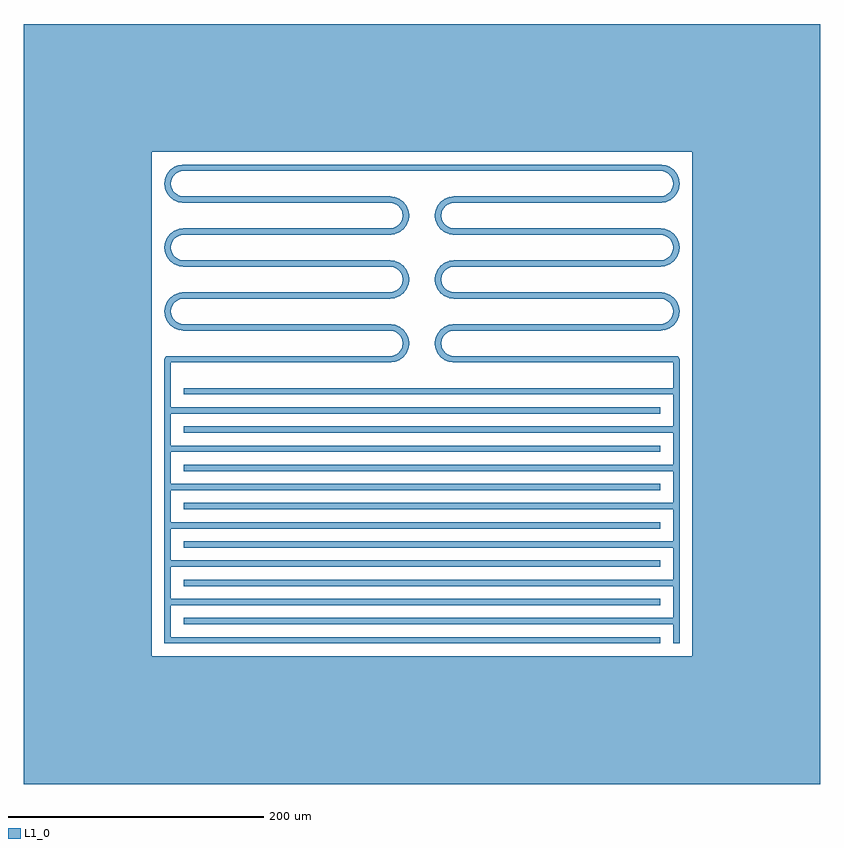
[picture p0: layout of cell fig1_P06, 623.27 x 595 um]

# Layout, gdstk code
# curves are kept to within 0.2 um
import gdstk
lib = gdstk.Library(unit=1e-6, precision=1e-09)
def R(c, l, rs):  # rectangles x0, y0, x1, y1
    for r in rs: c.add(gdstk.rectangle(r[:2], r[2:], *l))
def A(c, l, x, y, w, h, nx, ny, dx, dy):  # array of equal rectangles
    R(c, l, [(x+i*dx, y+j*dy, x+i*dx+w, y+j*dy+h) for i in range(nx) for j in range(ny)])
def P(c, l, *ps):  # polygons
    for p in ps: c.add(gdstk.Polygon(p, *l))
L1_0 = (1, 0)

fig1_p06 = lib.new_cell('fig1_P06')
A(fig1_p06, L1_0, -201.634, 0, 388.268, 5, 1, 7, 0, 30)
A(fig1_p06, L1_0, -186.634, 15, 388.268, 5, 1, 7, 0, 30)
A(fig1_p06, L1_0, -186.634, 245, 161.634, 5, 1, 5, 0, 25)
A(fig1_p06, L1_0, 25, 245, 161.634, 5, 1, 5, 0, 25)
R(fig1_p06, L1_0, [(-311.634,-110,311.634,-10), (-311.634,-10,-211.634,385), (211.634,-10,311.634,385), (-201.634,0,-196.634,200), (196.634,0,201.634,200), (-201.634,197.5,-196.634,222.5), (196.634,197.5,201.634,222.5), (-199.134,220,-25,225), (25,220,199.134,225), (-186.634,370,186.634,375), (-311.634,385,311.634,485)])
P(fig1_p06, L1_0, [(14.979,334.674),(10.021,335.326),(10.447,338.562),(15.405,337.909)],
  [(12.926,335.735),(11.158,336.467),(10.426,338.235),(11.158,340.003),(12.926,340.735),(14.694,340.003),(15.426,338.235),(14.694,336.467)],
  [(12.5,332.5),(10.732,333.232),(10,335),(10.732,336.768),(12.5,337.5),(14.268,336.768),(15,335),(14.268,333.232)],
  [(194.406,347.191),(191.362,351.158),(193.951,353.145),(196.995,349.178)],
  [(190.826,345.616),(188.913,350.236),(191.927,351.484),(193.841,346.865)],
  [(186.96,345.021),(186.308,349.979),(189.543,350.405),(190.196,345.447)],
  [(189.543,369.595),(186.308,370.021),(186.96,374.979),(190.196,374.553)],
  [(191.927,368.516),(188.913,369.764),(190.826,374.384),(193.841,373.135)],
  [(193.951,366.855),(191.362,368.842),(194.406,372.809),(196.995,370.822)],
  [(195.476,364.728),(193.489,367.317),(197.456,370.361),(199.443,367.772)],
  [(196.398,362.279),(195.15,365.293),(199.769,367.207),(201.018,364.192)],
  [(196.655,359.674),(196.229,362.909),(201.187,363.562),(201.613,360.326)],
  [(201.187,356.438),(196.229,357.091),(196.655,360.326),(201.613,359.674)],
  [(186.634,370),(184.866,370.732),(184.134,372.5),(184.866,374.268),(186.634,375),(188.402,374.268),(189.134,372.5),(188.402,370.732)],
  [(189.869,369.574),(188.101,370.306),(187.369,372.074),(188.101,373.842),(189.869,374.574),(191.637,373.842),(192.369,372.074),(191.637,370.306)],
  [(192.884,368.325),(191.116,369.058),(190.384,370.825),(191.116,372.593),(192.884,373.325),(194.652,372.593),(195.384,370.825),(194.652,369.058)],
  [(195.473,366.339),(193.705,367.071),(192.973,368.839),(193.705,370.607),(195.473,371.339),(197.241,370.607),(197.973,368.839),(197.241,367.071)],
  [(197.459,363.75),(195.692,364.482),(194.959,366.25),(195.692,368.018),(197.459,368.75),(199.227,368.018),(199.959,366.25),(199.227,364.482)],
  [(198.708,360.735),(196.94,361.467),(196.208,363.235),(196.94,365.003),(198.708,365.735),(200.476,365.003),(201.208,363.235),(200.476,361.467)],
  [(199.134,357.5),(197.366,358.232),(196.634,360),(197.366,361.768),(199.134,362.5),(200.902,361.768),(201.634,360),(200.902,358.232)],
  [(198.708,354.265),(196.94,354.997),(196.208,356.765),(196.94,358.533),(198.708,359.265),(200.476,358.533),(201.208,356.765),(200.476,354.997)],
  [(197.459,351.25),(195.692,351.982),(194.959,353.75),(195.692,355.518),(197.459,356.25),(199.227,355.518),(199.959,353.75),(199.227,351.982)],
  [(195.473,348.661),(193.705,349.393),(192.973,351.161),(193.705,352.929),(195.473,353.661),(197.241,352.929),(197.973,351.161),(197.241,349.393)],
  [(192.884,346.675),(191.116,347.407),(190.384,349.175),(191.116,350.942),(192.884,351.675),(194.652,350.942),(195.384,349.175),(194.652,347.407)],
  [(189.869,345.426),(188.101,346.158),(187.369,347.926),(188.101,349.694),(189.869,350.426),(191.637,349.694),(192.369,347.926),(191.637,346.158)],
  [(186.634,345),(184.866,345.732),(184.134,347.5),(184.866,349.268),(186.634,350),(188.402,349.268),(189.134,347.5),(188.402,345.732)],
  [(199.769,352.793),(195.15,354.707),(196.398,357.721),(201.018,355.808)],
  [(197.456,349.639),(193.489,352.683),(195.476,355.272),(199.443,352.228)],
  [(19.707,343.516),(17.793,348.135),(20.808,349.384),(22.721,344.764)],
  [(17.683,341.855),(14.639,345.822),(17.228,347.809),(20.272,343.842)],
  [(16.158,339.728),(12.191,342.772),(14.178,345.361),(18.145,342.317)],
  [(25,345),(23.232,345.732),(22.5,347.5),(23.232,349.268),(25,350),(26.768,349.268),(27.5,347.5),(26.768,345.732)],
  [(21.765,344.574),(19.997,345.306),(19.265,347.074),(19.997,348.842),(21.765,349.574),(23.533,348.842),(24.265,347.074),(23.533,345.306)],
  [(18.75,343.325),(16.982,344.058),(16.25,345.825),(16.982,347.593),(18.75,348.325),(20.518,347.593),(21.25,345.825),(20.518,344.058)],
  [(16.161,341.339),(14.393,342.071),(13.661,343.839),(14.393,345.607),(16.161,346.339),(17.929,345.607),(18.661,343.839),(17.929,342.071)],
  [(14.175,338.75),(12.407,339.482),(11.675,341.25),(12.407,343.018),(14.175,343.75),(15.942,343.018),(16.675,341.25),(15.942,339.482)],
  [(15.236,337.279),(10.616,339.192),(11.865,342.207),(16.484,340.293)],
  [(22.091,344.595),(21.438,349.553),(24.674,349.979),(25.326,345.021)],
  [(16.158,239.728),(12.191,242.772),(14.178,245.361),(18.145,242.317)],
  [(15.236,237.279),(10.616,239.192),(11.865,242.207),(16.484,240.293)],
  [(14.979,234.674),(10.021,235.326),(10.447,238.562),(15.405,237.909)],
  [(10.447,231.438),(10.021,234.674),(14.979,235.326),(15.405,232.091)],
  [(11.865,227.793),(10.616,230.808),(15.236,232.721),(16.484,229.707)],
  [(14.178,224.639),(12.191,227.228),(16.158,230.272),(18.145,227.683)],
  [(17.228,222.191),(14.639,224.178),(17.683,228.145),(20.272,226.158)],
  [(20.808,220.616),(17.793,221.865),(19.707,226.484),(22.721,225.236)],
  [(24.674,220.021),(21.438,220.447),(22.091,225.405),(25.326,224.979)],
  [(20.808,320.616),(17.793,321.865),(19.707,326.484),(22.721,325.236)],
  [(24.674,320.021),(21.438,320.447),(22.091,325.405),(25.326,324.979)],
  [(10.447,331.438),(10.021,334.674),(14.979,335.326),(15.405,332.091)],
  [(11.865,327.793),(10.616,330.808),(15.236,332.721),(16.484,329.707)],
  [(22.091,294.595),(21.438,299.553),(24.674,299.979),(25.326,295.021)],
  [(19.707,293.516),(17.793,298.135),(20.808,299.384),(22.721,294.764)],
  [(17.683,291.855),(14.639,295.822),(17.228,297.809),(20.272,293.842)],
  [(16.158,289.728),(12.191,292.772),(14.178,295.361),(18.145,292.317)],
  [(15.236,287.279),(10.616,289.192),(11.865,292.207),(16.484,290.293)],
  [(14.979,284.674),(10.021,285.326),(10.447,288.562),(15.405,287.909)],
  [(10.447,281.438),(10.021,284.674),(14.979,285.326),(15.405,282.091)],
  [(11.865,277.793),(10.616,280.808),(15.236,282.721),(16.484,279.707)],
  [(14.178,274.639),(12.191,277.228),(16.158,280.272),(18.145,277.683)],
  [(17.228,272.191),(14.639,274.178),(17.683,278.145),(20.272,276.158)],
  [(20.808,270.616),(17.793,271.865),(19.707,276.484),(22.721,275.236)],
  [(24.674,270.021),(21.438,270.447),(22.091,275.405),(25.326,274.979)],
  [(14.178,324.639),(12.191,327.228),(16.158,330.272),(18.145,327.683)],
  [(17.228,322.191),(14.639,324.178),(17.683,328.145),(20.272,326.158)],
  [(22.091,244.595),(21.438,249.553),(24.674,249.979),(25.326,245.021)],
  [(19.707,243.516),(17.793,248.135),(20.808,249.384),(22.721,244.764)],
  [(17.683,241.855),(14.639,245.822),(17.228,247.809),(20.272,243.842)],
  [(12.926,329.265),(11.158,329.997),(10.426,331.765),(11.158,333.533),(12.926,334.265),(14.694,333.533),(15.426,331.765),(14.694,329.997)],
  [(14.175,326.25),(12.407,326.982),(11.675,328.75),(12.407,330.518),(14.175,331.25),(15.942,330.518),(16.675,328.75),(15.942,326.982)],
  [(16.161,323.661),(14.393,324.393),(13.661,326.161),(14.393,327.929),(16.161,328.661),(17.929,327.929),(18.661,326.161),(17.929,324.393)],
  [(18.75,321.675),(16.982,322.407),(16.25,324.175),(16.982,325.942),(18.75,326.675),(20.518,325.942),(21.25,324.175),(20.518,322.407)],
  [(21.765,320.426),(19.997,321.158),(19.265,322.926),(19.997,324.694),(21.765,325.426),(23.533,324.694),(24.265,322.926),(23.533,321.158)],
  [(25,320),(23.232,320.732),(22.5,322.5),(23.232,324.268),(25,325),(26.768,324.268),(27.5,322.5),(26.768,320.732)],
  [(25,295),(23.232,295.732),(22.5,297.5),(23.232,299.268),(25,300),(26.768,299.268),(27.5,297.5),(26.768,295.732)],
  [(21.765,294.574),(19.997,295.306),(19.265,297.074),(19.997,298.842),(21.765,299.574),(23.533,298.842),(24.265,297.074),(23.533,295.306)],
  [(18.75,293.325),(16.982,294.058),(16.25,295.825),(16.982,297.593),(18.75,298.325),(20.518,297.593),(21.25,295.825),(20.518,294.058)],
  [(16.161,291.339),(14.393,292.071),(13.661,293.839),(14.393,295.607),(16.161,296.339),(17.929,295.607),(18.661,293.839),(17.929,292.071)],
  [(14.175,288.75),(12.407,289.482),(11.675,291.25),(12.407,293.018),(14.175,293.75),(15.942,293.018),(16.675,291.25),(15.942,289.482)],
  [(12.926,285.735),(11.158,286.467),(10.426,288.235),(11.158,290.003),(12.926,290.735),(14.694,290.003),(15.426,288.235),(14.694,286.467)],
  [(12.5,282.5),(10.732,283.232),(10,285),(10.732,286.768),(12.5,287.5),(14.268,286.768),(15,285),(14.268,283.232)],
  [(12.926,279.265),(11.158,279.997),(10.426,281.765),(11.158,283.533),(12.926,284.265),(14.694,283.533),(15.426,281.765),(14.694,279.997)],
  [(14.175,276.25),(12.407,276.982),(11.675,278.75),(12.407,280.518),(14.175,281.25),(15.942,280.518),(16.675,278.75),(15.942,276.982)],
  [(16.161,273.661),(14.393,274.393),(13.661,276.161),(14.393,277.929),(16.161,278.661),(17.929,277.929),(18.661,276.161),(17.929,274.393)],
  [(18.75,271.675),(16.982,272.407),(16.25,274.175),(16.982,275.942),(18.75,276.675),(20.518,275.942),(21.25,274.175),(20.518,272.407)],
  [(21.765,270.426),(19.997,271.158),(19.265,272.926),(19.997,274.694),(21.765,275.426),(23.533,274.694),(24.265,272.926),(23.533,271.158)],
  [(25,270),(23.232,270.732),(22.5,272.5),(23.232,274.268),(25,275),(26.768,274.268),(27.5,272.5),(26.768,270.732)],
  [(25,245),(23.232,245.732),(22.5,247.5),(23.232,249.268),(25,250),(26.768,249.268),(27.5,247.5),(26.768,245.732)],
  [(21.765,244.574),(19.997,245.306),(19.265,247.074),(19.997,248.842),(21.765,249.574),(23.533,248.842),(24.265,247.074),(23.533,245.306)],
  [(18.75,243.325),(16.982,244.058),(16.25,245.825),(16.982,247.593),(18.75,248.325),(20.518,247.593),(21.25,245.825),(20.518,244.058)],
  [(16.161,241.339),(14.393,242.071),(13.661,243.839),(14.393,245.607),(16.161,246.339),(17.929,245.607),(18.661,243.839),(17.929,242.071)],
  [(14.175,238.75),(12.407,239.482),(11.675,241.25),(12.407,243.018),(14.175,243.75),(15.942,243.018),(16.675,241.25),(15.942,239.482)],
  [(12.926,235.735),(11.158,236.467),(10.426,238.235),(11.158,240.003),(12.926,240.735),(14.694,240.003),(15.426,238.235),(14.694,236.467)],
  [(12.5,232.5),(10.732,233.232),(10,235),(10.732,236.768),(12.5,237.5),(14.268,236.768),(15,235),(14.268,233.232)],
  [(12.926,229.265),(11.158,229.997),(10.426,231.765),(11.158,233.533),(12.926,234.265),(14.694,233.533),(15.426,231.765),(14.694,229.997)],
  [(14.175,226.25),(12.407,226.982),(11.675,228.75),(12.407,230.518),(14.175,231.25),(15.942,230.518),(16.675,228.75),(15.942,226.982)],
  [(16.161,223.661),(14.393,224.393),(13.661,226.161),(14.393,227.929),(16.161,228.661),(17.929,227.929),(18.661,226.161),(17.929,224.393)],
  [(18.75,221.675),(16.982,222.407),(16.25,224.175),(16.982,225.942),(18.75,226.675),(20.518,225.942),(21.25,224.175),(20.518,222.407)],
  [(21.765,220.426),(19.997,221.158),(19.265,222.926),(19.997,224.694),(21.765,225.426),(23.533,224.694),(24.265,222.926),(23.533,221.158)],
  [(25,220),(23.232,220.732),(22.5,222.5),(23.232,224.268),(25,225),(26.768,224.268),(27.5,222.5),(26.768,220.732)],
  [(189.869,319.574),(188.101,320.306),(187.369,322.074),(188.101,323.842),(189.869,324.574),(191.637,323.842),(192.369,322.074),(191.637,320.306)],
  [(192.884,318.325),(191.116,319.058),(190.384,320.825),(191.116,322.593),(192.884,323.325),(194.652,322.593),(195.384,320.825),(194.652,319.058)],
  [(195.473,316.339),(193.705,317.071),(192.973,318.839),(193.705,320.607),(195.473,321.339),(197.241,320.607),(197.973,318.839),(197.241,317.071)],
  [(197.459,313.75),(195.692,314.482),(194.959,316.25),(195.692,318.018),(197.459,318.75),(199.227,318.018),(199.959,316.25),(199.227,314.482)],
  [(198.708,310.735),(196.94,311.467),(196.208,313.235),(196.94,315.003),(198.708,315.735),(200.476,315.003),(201.208,313.235),(200.476,311.467)],
  [(199.134,307.5),(197.366,308.232),(196.634,310),(197.366,311.768),(199.134,312.5),(200.902,311.768),(201.634,310),(200.902,308.232)],
  [(198.708,304.265),(196.94,304.997),(196.208,306.765),(196.94,308.533),(198.708,309.265),(200.476,308.533),(201.208,306.765),(200.476,304.997)],
  [(197.459,301.25),(195.692,301.982),(194.959,303.75),(195.692,305.518),(197.459,306.25),(199.227,305.518),(199.959,303.75),(199.227,301.982)],
  [(195.473,298.661),(193.705,299.393),(192.973,301.161),(193.705,302.929),(195.473,303.661),(197.241,302.929),(197.973,301.161),(197.241,299.393)],
  [(192.884,296.675),(191.116,297.407),(190.384,299.175),(191.116,300.942),(192.884,301.675),(194.652,300.942),(195.384,299.175),(194.652,297.407)],
  [(189.869,295.426),(188.101,296.158),(187.369,297.926),(188.101,299.694),(189.869,300.426),(191.637,299.694),(192.369,297.926),(191.637,296.158)],
  [(186.634,295),(184.866,295.732),(184.134,297.5),(184.866,299.268),(186.634,300),(188.402,299.268),(189.134,297.5),(188.402,295.732)],
  [(193.951,266.855),(191.362,268.842),(194.406,272.809),(196.995,270.822)],
  [(195.476,264.728),(193.489,267.317),(197.456,270.361),(199.443,267.772)],
  [(196.398,262.279),(195.15,265.293),(199.769,267.207),(201.018,264.192)],
  [(196.655,259.674),(196.229,262.909),(201.187,263.562),(201.613,260.326)],
  [(201.187,256.438),(196.229,257.091),(196.655,260.326),(201.613,259.674)],
  [(199.769,252.793),(195.15,254.707),(196.398,257.721),(201.018,255.808)],
  [(197.456,249.639),(193.489,252.683),(195.476,255.272),(199.443,252.228)],
  [(194.406,247.191),(191.362,251.158),(193.951,253.145),(196.995,249.178)],
  [(190.826,245.616),(188.913,250.236),(191.927,251.484),(193.841,246.865)],
  [(186.96,245.021),(186.308,249.979),(189.543,250.405),(190.196,245.447)],
  [(189.543,319.595),(186.308,320.021),(186.96,324.979),(190.196,324.553)],
  [(191.927,318.516),(188.913,319.764),(190.826,324.384),(193.841,323.135)],
  [(193.951,316.855),(191.362,318.842),(194.406,322.809),(196.995,320.822)],
  [(186.634,270),(184.866,270.732),(184.134,272.5),(184.866,274.268),(186.634,275),(188.402,274.268),(189.134,272.5),(188.402,270.732)],
  [(189.869,269.574),(188.101,270.306),(187.369,272.074),(188.101,273.842),(189.869,274.574),(191.637,273.842),(192.369,272.074),(191.637,270.306)],
  [(192.884,268.325),(191.116,269.058),(190.384,270.825),(191.116,272.593),(192.884,273.325),(194.652,272.593),(195.384,270.825),(194.652,269.058)],
  [(195.473,266.339),(193.705,267.071),(192.973,268.839),(193.705,270.607),(195.473,271.339),(197.241,270.607),(197.973,268.839),(197.241,267.071)],
  [(197.459,263.75),(195.692,264.482),(194.959,266.25),(195.692,268.018),(197.459,268.75),(199.227,268.018),(199.959,266.25),(199.227,264.482)],
  [(198.708,260.735),(196.94,261.467),(196.208,263.235),(196.94,265.003),(198.708,265.735),(200.476,265.003),(201.208,263.235),(200.476,261.467)],
  [(199.134,257.5),(197.366,258.232),(196.634,260),(197.366,261.768),(199.134,262.5),(200.902,261.768),(201.634,260),(200.902,258.232)],
  [(198.708,254.265),(196.94,254.997),(196.208,256.765),(196.94,258.533),(198.708,259.265),(200.476,258.533),(201.208,256.765),(200.476,254.997)],
  [(197.459,251.25),(195.692,251.982),(194.959,253.75),(195.692,255.518),(197.459,256.25),(199.227,255.518),(199.959,253.75),(199.227,251.982)],
  [(195.473,248.661),(193.705,249.393),(192.973,251.161),(193.705,252.929),(195.473,253.661),(197.241,252.929),(197.973,251.161),(197.241,249.393)],
  [(192.884,246.675),(191.116,247.407),(190.384,249.175),(191.116,250.942),(192.884,251.675),(194.652,250.942),(195.384,249.175),(194.652,247.407)],
  [(189.869,245.426),(188.101,246.158),(187.369,247.926),(188.101,249.694),(189.869,250.426),(191.637,249.694),(192.369,247.926),(191.637,246.158)],
  [(186.634,245),(184.866,245.732),(184.134,247.5),(184.866,249.268),(186.634,250),(188.402,249.268),(189.134,247.5),(188.402,245.732)],
  [(195.476,314.728),(193.489,317.317),(197.456,320.361),(199.443,317.772)],
  [(196.398,312.279),(195.15,315.293),(199.769,317.207),(201.018,314.192)],
  [(196.655,309.674),(196.229,312.909),(201.187,313.562),(201.613,310.326)],
  [(201.187,306.438),(196.229,307.091),(196.655,310.326),(201.613,309.674)],
  [(199.769,302.793),(195.15,304.707),(196.398,307.721),(201.018,305.808)],
  [(197.456,299.639),(193.489,302.683),(195.476,305.272),(199.443,302.228)],
  [(194.406,297.191),(191.362,301.158),(193.951,303.145),(196.995,299.178)],
  [(190.826,295.616),(188.913,300.236),(191.927,301.484),(193.841,296.865)],
  [(186.96,295.021),(186.308,299.979),(189.543,300.405),(190.196,295.447)],
  [(189.543,269.595),(186.308,270.021),(186.96,274.979),(190.196,274.553)],
  [(191.927,268.516),(188.913,269.764),(190.826,274.384),(193.841,273.135)],
  [(186.634,320),(184.866,320.732),(184.134,322.5),(184.866,324.268),(186.634,325),(188.402,324.268),(189.134,322.5),(188.402,320.732)],
  [(199.134,220),(197.366,220.732),(196.634,222.5),(197.366,224.268),(199.134,225),(200.902,224.268),(201.634,222.5),(200.902,220.732)],
  [(-12.5,332.5),(-14.268,333.232),(-15,335),(-14.268,336.768),(-12.5,337.5),(-10.732,336.768),(-10,335),(-10.732,333.232)],
  [(-12.926,335.735),(-14.694,336.467),(-15.426,338.235),(-14.694,340.003),(-12.926,340.735),(-11.158,340.003),(-10.426,338.235),(-11.158,336.467)],
  [(-14.979,334.674),(-15.405,337.909),(-10.447,338.562),(-10.021,335.326)],
  [(-18.75,343.325),(-20.518,344.058),(-21.25,345.825),(-20.518,347.593),(-18.75,348.325),(-16.982,347.593),(-16.25,345.825),(-16.982,344.058)],
  [(-21.765,344.574),(-23.533,345.306),(-24.265,347.074),(-23.533,348.842),(-21.765,349.574),(-19.997,348.842),(-19.265,347.074),(-19.997,345.306)],
  [(-25,345),(-26.768,345.732),(-27.5,347.5),(-26.768,349.268),(-25,350),(-23.232,349.268),(-22.5,347.5),(-23.232,345.732)],
  [(-14.175,338.75),(-15.942,339.482),(-16.675,341.25),(-15.942,343.018),(-14.175,343.75),(-12.407,343.018),(-11.675,341.25),(-12.407,339.482)],
  [(-15.236,337.279),(-16.484,340.293),(-11.865,342.207),(-10.616,339.192)],
  [(-16.158,339.728),(-18.145,342.317),(-14.178,345.361),(-12.191,342.772)],
  [(-17.683,341.855),(-20.272,343.842),(-17.228,347.809),(-14.639,345.822)],
  [(-19.707,343.516),(-22.721,344.764),(-20.808,349.384),(-17.793,348.135)],
  [(-22.091,344.595),(-25.326,345.021),(-24.674,349.979),(-21.438,349.553)],
  [(-16.161,341.339),(-17.929,342.071),(-18.661,343.839),(-17.929,345.607),(-16.161,346.339),(-14.393,345.607),(-13.661,343.839),(-14.393,342.071)],
  [(-186.634,370),(-188.402,370.732),(-189.134,372.5),(-188.402,374.268),(-186.634,375),(-184.866,374.268),(-184.134,372.5),(-184.866,370.732)],
  [(-186.634,345),(-188.402,345.732),(-189.134,347.5),(-188.402,349.268),(-186.634,350),(-184.866,349.268),(-184.134,347.5),(-184.866,345.732)],
  [(-189.869,345.426),(-191.637,346.158),(-192.369,347.926),(-191.637,349.694),(-189.869,350.426),(-188.101,349.694),(-187.369,347.926),(-188.101,346.158)],
  [(-192.884,346.675),(-194.652,347.407),(-195.384,349.175),(-194.652,350.942),(-192.884,351.675),(-191.116,350.942),(-190.384,349.175),(-191.116,347.407)],
  [(-195.473,348.661),(-197.241,349.393),(-197.973,351.161),(-197.241,352.929),(-195.473,353.661),(-193.705,352.929),(-192.973,351.161),(-193.705,349.393)],
  [(-197.459,351.25),(-199.227,351.982),(-199.959,353.75),(-199.227,355.518),(-197.459,356.25),(-195.692,355.518),(-194.959,353.75),(-195.692,351.982)],
  [(-198.708,354.265),(-200.476,354.997),(-201.208,356.765),(-200.476,358.533),(-198.708,359.265),(-196.94,358.533),(-196.208,356.765),(-196.94,354.997)],
  [(-199.134,357.5),(-200.902,358.232),(-201.634,360),(-200.902,361.768),(-199.134,362.5),(-197.366,361.768),(-196.634,360),(-197.366,358.232)],
  [(-198.708,360.735),(-200.476,361.467),(-201.208,363.235),(-200.476,365.003),(-198.708,365.735),(-196.94,365.003),(-196.208,363.235),(-196.94,361.467)],
  [(-197.459,363.75),(-199.227,364.482),(-199.959,366.25),(-199.227,368.018),(-197.459,368.75),(-195.692,368.018),(-194.959,366.25),(-195.692,364.482)],
  [(-195.473,366.339),(-197.241,367.071),(-197.973,368.839),(-197.241,370.607),(-195.473,371.339),(-193.705,370.607),(-192.973,368.839),(-193.705,367.071)],
  [(-192.884,368.325),(-194.652,369.058),(-195.384,370.825),(-194.652,372.593),(-192.884,373.325),(-191.116,372.593),(-190.384,370.825),(-191.116,369.058)],
  [(-189.869,369.574),(-191.637,370.306),(-192.369,372.074),(-191.637,373.842),(-189.869,374.574),(-188.101,373.842),(-187.369,372.074),(-188.101,370.306)],
  [(-186.96,345.021),(-190.196,345.447),(-189.543,350.405),(-186.308,349.979)],
  [(-190.826,345.616),(-193.841,346.865),(-191.927,351.484),(-188.913,350.236)],
  [(-194.406,347.191),(-196.995,349.178),(-193.951,353.145),(-191.362,351.158)],
  [(-197.456,349.639),(-199.443,352.228),(-195.476,355.272),(-193.489,352.683)],
  [(-199.769,352.793),(-201.018,355.808),(-196.398,357.721),(-195.15,354.707)],
  [(-201.187,356.438),(-201.613,359.674),(-196.655,360.326),(-196.229,357.091)],
  [(-196.655,359.674),(-201.613,360.326),(-201.187,363.562),(-196.229,362.909)],
  [(-196.398,362.279),(-201.018,364.192),(-199.769,367.207),(-195.15,365.293)],
  [(-195.476,364.728),(-199.443,367.772),(-197.456,370.361),(-193.489,367.317)],
  [(-193.951,366.855),(-196.995,370.822),(-194.406,372.809),(-191.362,368.842)],
  [(-191.927,368.516),(-193.841,373.135),(-190.826,374.384),(-188.913,369.764)],
  [(-189.543,369.595),(-190.196,374.553),(-186.96,374.979),(-186.308,370.021)],
  [(-195.473,298.661),(-197.241,299.393),(-197.973,301.161),(-197.241,302.929),(-195.473,303.661),(-193.705,302.929),(-192.973,301.161),(-193.705,299.393)],
  [(-197.459,301.25),(-199.227,301.982),(-199.959,303.75),(-199.227,305.518),(-197.459,306.25),(-195.692,305.518),(-194.959,303.75),(-195.692,301.982)],
  [(-198.708,304.265),(-200.476,304.997),(-201.208,306.765),(-200.476,308.533),(-198.708,309.265),(-196.94,308.533),(-196.208,306.765),(-196.94,304.997)],
  [(-199.134,307.5),(-200.902,308.232),(-201.634,310),(-200.902,311.768),(-199.134,312.5),(-197.366,311.768),(-196.634,310),(-197.366,308.232)],
  [(-198.708,310.735),(-200.476,311.467),(-201.208,313.235),(-200.476,315.003),(-198.708,315.735),(-196.94,315.003),(-196.208,313.235),(-196.94,311.467)],
  [(-186.96,245.021),(-190.196,245.447),(-189.543,250.405),(-186.308,249.979)],
  [(-190.826,245.616),(-193.841,246.865),(-191.927,251.484),(-188.913,250.236)],
  [(-194.406,247.191),(-196.995,249.178),(-193.951,253.145),(-191.362,251.158)],
  [(-197.456,249.639),(-199.443,252.228),(-195.476,255.272),(-193.489,252.683)],
  [(-199.769,252.793),(-201.018,255.808),(-196.398,257.721),(-195.15,254.707)],
  [(-201.187,256.438),(-201.613,259.674),(-196.655,260.326),(-196.229,257.091)],
  [(-196.655,259.674),(-201.613,260.326),(-201.187,263.562),(-196.229,262.909)],
  [(-196.398,262.279),(-201.018,264.192),(-199.769,267.207),(-195.15,265.293)],
  [(-195.476,264.728),(-199.443,267.772),(-197.456,270.361),(-193.489,267.317)],
  [(-193.951,266.855),(-196.995,270.822),(-194.406,272.809),(-191.362,268.842)],
  [(-191.927,268.516),(-193.841,273.135),(-190.826,274.384),(-188.913,269.764)],
  [(-189.543,269.595),(-190.196,274.553),(-186.96,274.979),(-186.308,270.021)],
  [(-197.459,313.75),(-199.227,314.482),(-199.959,316.25),(-199.227,318.018),(-197.459,318.75),(-195.692,318.018),(-194.959,316.25),(-195.692,314.482)],
  [(-195.473,316.339),(-197.241,317.071),(-197.973,318.839),(-197.241,320.607),(-195.473,321.339),(-193.705,320.607),(-192.973,318.839),(-193.705,317.071)],
  [(-186.96,295.021),(-190.196,295.447),(-189.543,300.405),(-186.308,299.979)],
  [(-190.826,295.616),(-193.841,296.865),(-191.927,301.484),(-188.913,300.236)],
  [(-194.406,297.191),(-196.995,299.178),(-193.951,303.145),(-191.362,301.158)],
  [(-197.456,299.639),(-199.443,302.228),(-195.476,305.272),(-193.489,302.683)],
  [(-199.769,302.793),(-201.018,305.808),(-196.398,307.721),(-195.15,304.707)],
  [(-201.187,306.438),(-201.613,309.674),(-196.655,310.326),(-196.229,307.091)],
  [(-196.655,309.674),(-201.613,310.326),(-201.187,313.562),(-196.229,312.909)],
  [(-196.398,312.279),(-201.018,314.192),(-199.769,317.207),(-195.15,315.293)],
  [(-195.476,314.728),(-199.443,317.772),(-197.456,320.361),(-193.489,317.317)],
  [(-193.951,316.855),(-196.995,320.822),(-194.406,322.809),(-191.362,318.842)],
  [(-191.927,318.516),(-193.841,323.135),(-190.826,324.384),(-188.913,319.764)],
  [(-189.543,319.595),(-190.196,324.553),(-186.96,324.979),(-186.308,320.021)],
  [(-192.884,318.325),(-194.652,319.058),(-195.384,320.825),(-194.652,322.593),(-192.884,323.325),(-191.116,322.593),(-190.384,320.825),(-191.116,319.058)],
  [(-189.869,319.574),(-191.637,320.306),(-192.369,322.074),(-191.637,323.842),(-189.869,324.574),(-188.101,323.842),(-187.369,322.074),(-188.101,320.306)],
  [(-186.634,320),(-188.402,320.732),(-189.134,322.5),(-188.402,324.268),(-186.634,325),(-184.866,324.268),(-184.134,322.5),(-184.866,320.732)],
  [(-199.134,220),(-200.902,220.732),(-201.634,222.5),(-200.902,224.268),(-199.134,225),(-197.366,224.268),(-196.634,222.5),(-197.366,220.732)],
  [(-186.634,245),(-188.402,245.732),(-189.134,247.5),(-188.402,249.268),(-186.634,250),(-184.866,249.268),(-184.134,247.5),(-184.866,245.732)],
  [(-189.869,245.426),(-191.637,246.158),(-192.369,247.926),(-191.637,249.694),(-189.869,250.426),(-188.101,249.694),(-187.369,247.926),(-188.101,246.158)],
  [(-192.884,246.675),(-194.652,247.407),(-195.384,249.175),(-194.652,250.942),(-192.884,251.675),(-191.116,250.942),(-190.384,249.175),(-191.116,247.407)],
  [(-195.473,248.661),(-197.241,249.393),(-197.973,251.161),(-197.241,252.929),(-195.473,253.661),(-193.705,252.929),(-192.973,251.161),(-193.705,249.393)],
  [(-197.459,251.25),(-199.227,251.982),(-199.959,253.75),(-199.227,255.518),(-197.459,256.25),(-195.692,255.518),(-194.959,253.75),(-195.692,251.982)],
  [(-198.708,254.265),(-200.476,254.997),(-201.208,256.765),(-200.476,258.533),(-198.708,259.265),(-196.94,258.533),(-196.208,256.765),(-196.94,254.997)],
  [(-199.134,257.5),(-200.902,258.232),(-201.634,260),(-200.902,261.768),(-199.134,262.5),(-197.366,261.768),(-196.634,260),(-197.366,258.232)],
  [(-198.708,260.735),(-200.476,261.467),(-201.208,263.235),(-200.476,265.003),(-198.708,265.735),(-196.94,265.003),(-196.208,263.235),(-196.94,261.467)],
  [(-197.459,263.75),(-199.227,264.482),(-199.959,266.25),(-199.227,268.018),(-197.459,268.75),(-195.692,268.018),(-194.959,266.25),(-195.692,264.482)],
  [(-195.473,266.339),(-197.241,267.071),(-197.973,268.839),(-197.241,270.607),(-195.473,271.339),(-193.705,270.607),(-192.973,268.839),(-193.705,267.071)],
  [(-192.884,268.325),(-194.652,269.058),(-195.384,270.825),(-194.652,272.593),(-192.884,273.325),(-191.116,272.593),(-190.384,270.825),(-191.116,269.058)],
  [(-189.869,269.574),(-191.637,270.306),(-192.369,272.074),(-191.637,273.842),(-189.869,274.574),(-188.101,273.842),(-187.369,272.074),(-188.101,270.306)],
  [(-186.634,270),(-188.402,270.732),(-189.134,272.5),(-188.402,274.268),(-186.634,275),(-184.866,274.268),(-184.134,272.5),(-184.866,270.732)],
  [(-186.634,295),(-188.402,295.732),(-189.134,297.5),(-188.402,299.268),(-186.634,300),(-184.866,299.268),(-184.134,297.5),(-184.866,295.732)],
  [(-189.869,295.426),(-191.637,296.158),(-192.369,297.926),(-191.637,299.694),(-189.869,300.426),(-188.101,299.694),(-187.369,297.926),(-188.101,296.158)],
  [(-192.884,296.675),(-194.652,297.407),(-195.384,299.175),(-194.652,300.942),(-192.884,301.675),(-191.116,300.942),(-190.384,299.175),(-191.116,297.407)],
  [(-25,245),(-26.768,245.732),(-27.5,247.5),(-26.768,249.268),(-25,250),(-23.232,249.268),(-22.5,247.5),(-23.232,245.732)],
  [(-25,320),(-26.768,320.732),(-27.5,322.5),(-26.768,324.268),(-25,325),(-23.232,324.268),(-22.5,322.5),(-23.232,320.732)],
  [(-21.765,320.426),(-23.533,321.158),(-24.265,322.926),(-23.533,324.694),(-21.765,325.426),(-19.997,324.694),(-19.265,322.926),(-19.997,321.158)],
  [(-18.75,321.675),(-20.518,322.407),(-21.25,324.175),(-20.518,325.942),(-18.75,326.675),(-16.982,325.942),(-16.25,324.175),(-16.982,322.407)],
  [(-16.161,323.661),(-17.929,324.393),(-18.661,326.161),(-17.929,327.929),(-16.161,328.661),(-14.393,327.929),(-13.661,326.161),(-14.393,324.393)],
  [(-14.175,326.25),(-15.942,326.982),(-16.675,328.75),(-15.942,330.518),(-14.175,331.25),(-12.407,330.518),(-11.675,328.75),(-12.407,326.982)],
  [(-12.926,329.265),(-14.694,329.997),(-15.426,331.765),(-14.694,333.533),(-12.926,334.265),(-11.158,333.533),(-10.426,331.765),(-11.158,329.997)],
  [(-25,270),(-26.768,270.732),(-27.5,272.5),(-26.768,274.268),(-25,275),(-23.232,274.268),(-22.5,272.5),(-23.232,270.732)],
  [(-21.765,270.426),(-23.533,271.158),(-24.265,272.926),(-23.533,274.694),(-21.765,275.426),(-19.997,274.694),(-19.265,272.926),(-19.997,271.158)],
  [(-18.75,271.675),(-20.518,272.407),(-21.25,274.175),(-20.518,275.942),(-18.75,276.675),(-16.982,275.942),(-16.25,274.175),(-16.982,272.407)],
  [(-16.161,273.661),(-17.929,274.393),(-18.661,276.161),(-17.929,277.929),(-16.161,278.661),(-14.393,277.929),(-13.661,276.161),(-14.393,274.393)],
  [(-24.674,270.021),(-25.326,274.979),(-22.091,275.405),(-21.438,270.447)],
  [(-20.808,270.616),(-22.721,275.236),(-19.707,276.484),(-17.793,271.865)],
  [(-17.228,272.191),(-20.272,276.158),(-17.683,278.145),(-14.639,274.178)],
  [(-14.178,274.639),(-18.145,277.683),(-16.158,280.272),(-12.191,277.228)],
  [(-11.865,277.793),(-16.484,279.707),(-15.236,282.721),(-10.616,280.808)],
  [(-10.447,281.438),(-15.405,282.091),(-14.979,285.326),(-10.021,284.674)],
  [(-14.979,284.674),(-15.405,287.909),(-10.447,288.562),(-10.021,285.326)],
  [(-15.236,287.279),(-16.484,290.293),(-11.865,292.207),(-10.616,289.192)],
  [(-16.158,289.728),(-18.145,292.317),(-14.178,295.361),(-12.191,292.772)],
  [(-17.683,291.855),(-20.272,293.842),(-17.228,297.809),(-14.639,295.822)],
  [(-19.707,293.516),(-22.721,294.764),(-20.808,299.384),(-17.793,298.135)],
  [(-22.091,294.595),(-25.326,295.021),(-24.674,299.979),(-21.438,299.553)],
  [(-14.175,276.25),(-15.942,276.982),(-16.675,278.75),(-15.942,280.518),(-14.175,281.25),(-12.407,280.518),(-11.675,278.75),(-12.407,276.982)],
  [(-12.926,279.265),(-14.694,279.997),(-15.426,281.765),(-14.694,283.533),(-12.926,284.265),(-11.158,283.533),(-10.426,281.765),(-11.158,279.997)],
  [(-12.5,282.5),(-14.268,283.232),(-15,285),(-14.268,286.768),(-12.5,287.5),(-10.732,286.768),(-10,285),(-10.732,283.232)],
  [(-12.926,285.735),(-14.694,286.467),(-15.426,288.235),(-14.694,290.003),(-12.926,290.735),(-11.158,290.003),(-10.426,288.235),(-11.158,286.467)],
  [(-14.175,288.75),(-15.942,289.482),(-16.675,291.25),(-15.942,293.018),(-14.175,293.75),(-12.407,293.018),(-11.675,291.25),(-12.407,289.482)],
  [(-16.161,291.339),(-17.929,292.071),(-18.661,293.839),(-17.929,295.607),(-16.161,296.339),(-14.393,295.607),(-13.661,293.839),(-14.393,292.071)],
  [(-18.75,293.325),(-20.518,294.058),(-21.25,295.825),(-20.518,297.593),(-18.75,298.325),(-16.982,297.593),(-16.25,295.825),(-16.982,294.058)],
  [(-21.765,294.574),(-23.533,295.306),(-24.265,297.074),(-23.533,298.842),(-21.765,299.574),(-19.997,298.842),(-19.265,297.074),(-19.997,295.306)],
  [(-25,295),(-26.768,295.732),(-27.5,297.5),(-26.768,299.268),(-25,300),(-23.232,299.268),(-22.5,297.5),(-23.232,295.732)],
  [(-25,220),(-26.768,220.732),(-27.5,222.5),(-26.768,224.268),(-25,225),(-23.232,224.268),(-22.5,222.5),(-23.232,220.732)],
  [(-21.765,220.426),(-23.533,221.158),(-24.265,222.926),(-23.533,224.694),(-21.765,225.426),(-19.997,224.694),(-19.265,222.926),(-19.997,221.158)],
  [(-18.75,221.675),(-20.518,222.407),(-21.25,224.175),(-20.518,225.942),(-18.75,226.675),(-16.982,225.942),(-16.25,224.175),(-16.982,222.407)],
  [(-16.161,223.661),(-17.929,224.393),(-18.661,226.161),(-17.929,227.929),(-16.161,228.661),(-14.393,227.929),(-13.661,226.161),(-14.393,224.393)],
  [(-14.175,226.25),(-15.942,226.982),(-16.675,228.75),(-15.942,230.518),(-14.175,231.25),(-12.407,230.518),(-11.675,228.75),(-12.407,226.982)],
  [(-24.674,320.021),(-25.326,324.979),(-22.091,325.405),(-21.438,320.447)],
  [(-20.808,320.616),(-22.721,325.236),(-19.707,326.484),(-17.793,321.865)],
  [(-17.228,322.191),(-20.272,326.158),(-17.683,328.145),(-14.639,324.178)],
  [(-14.178,324.639),(-18.145,327.683),(-16.158,330.272),(-12.191,327.228)],
  [(-11.865,327.793),(-16.484,329.707),(-15.236,332.721),(-10.616,330.808)],
  [(-10.447,331.438),(-15.405,332.091),(-14.979,335.326),(-10.021,334.674)],
  [(-12.926,229.265),(-14.694,229.997),(-15.426,231.765),(-14.694,233.533),(-12.926,234.265),(-11.158,233.533),(-10.426,231.765),(-11.158,229.997)],
  [(-12.5,232.5),(-14.268,233.232),(-15,235),(-14.268,236.768),(-12.5,237.5),(-10.732,236.768),(-10,235),(-10.732,233.232)],
  [(-12.926,235.735),(-14.694,236.467),(-15.426,238.235),(-14.694,240.003),(-12.926,240.735),(-11.158,240.003),(-10.426,238.235),(-11.158,236.467)],
  [(-14.175,238.75),(-15.942,239.482),(-16.675,241.25),(-15.942,243.018),(-14.175,243.75),(-12.407,243.018),(-11.675,241.25),(-12.407,239.482)],
  [(-24.674,220.021),(-25.326,224.979),(-22.091,225.405),(-21.438,220.447)],
  [(-20.808,220.616),(-22.721,225.236),(-19.707,226.484),(-17.793,221.865)],
  [(-17.228,222.191),(-20.272,226.158),(-17.683,228.145),(-14.639,224.178)],
  [(-14.178,224.639),(-18.145,227.683),(-16.158,230.272),(-12.191,227.228)],
  [(-11.865,227.793),(-16.484,229.707),(-15.236,232.721),(-10.616,230.808)],
  [(-10.447,231.438),(-15.405,232.091),(-14.979,235.326),(-10.021,234.674)],
  [(-14.979,234.674),(-15.405,237.909),(-10.447,238.562),(-10.021,235.326)],
  [(-15.236,237.279),(-16.484,240.293),(-11.865,242.207),(-10.616,239.192)],
  [(-16.158,239.728),(-18.145,242.317),(-14.178,245.361),(-12.191,242.772)],
  [(-17.683,241.855),(-20.272,243.842),(-17.228,247.809),(-14.639,245.822)],
  [(-19.707,243.516),(-22.721,244.764),(-20.808,249.384),(-17.793,248.135)],
  [(-22.091,244.595),(-25.326,245.021),(-24.674,249.979),(-21.438,249.553)],
  [(-16.161,241.339),(-17.929,242.071),(-18.661,243.839),(-17.929,245.607),(-16.161,246.339),(-14.393,245.607),(-13.661,243.839),(-14.393,242.071)],
  [(-18.75,243.325),(-20.518,244.058),(-21.25,245.825),(-20.518,247.593),(-18.75,248.325),(-16.982,247.593),(-16.25,245.825),(-16.982,244.058)],
  [(-21.765,244.574),(-23.533,245.306),(-24.265,247.074),(-23.533,248.842),(-21.765,249.574),(-19.997,248.842),(-19.265,247.074),(-19.997,245.306)])

lib.write_gds('fig1_P06.gds')
